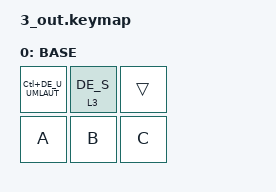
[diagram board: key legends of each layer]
/ {
    keymap {
        compatible = "zmk,keymap";

        // BEGIN keymap
        BASE {
            display-name = "BASE";
            bindings = <
&kp LC(DE_U_UMLAUT) &lt 3 DE_S &trans
&kp A &kp B &kp C
            >;
        };
        // END keymap
    };
};
